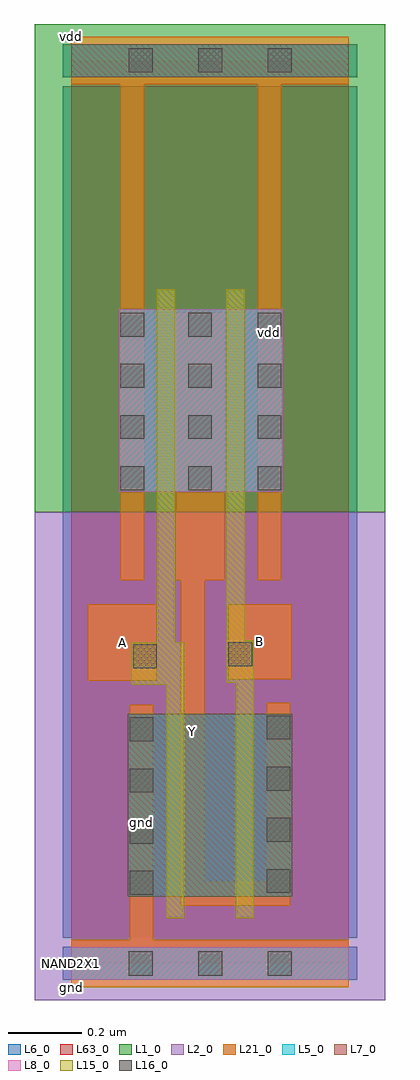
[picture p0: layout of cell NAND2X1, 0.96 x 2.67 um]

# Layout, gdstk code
import gdstk
lib = gdstk.Library(unit=1e-6, precision=1e-09)
def R(c, l, rs):  # rectangles x0, y0, x1, y1
    for r in rs: c.add(gdstk.rectangle(r[:2], r[2:], *l))
def A(c, l, x, y, w, h, nx, ny, dx, dy):  # array of equal rectangles
    R(c, l, [(x+i*dx, y+j*dy, x+i*dx+w, y+j*dy+h) for i in range(nx) for j in range(ny)])
def P(c, l, *ps):  # polygons
    for p in ps: c.add(gdstk.Polygon(p, *l))
L1_0 = (1, 0)
L2_0 = (2, 0)
L5_0 = (5, 0)
L6_0 = (6, 0)
L7_0 = (7, 0)
L8_0 = (8, 0)
L15_0 = (15, 0)
L16_0 = (16, 0)
L21_0 = (21, 0)
L63_0 = (63, 0)

nand2x1 = lib.new_cell('NAND2X1')
R(nand2x1, L1_0, [(-0.1,1.235,0.86,2.57)])
R(nand2x1, L2_0, [(-0.1,-0.1,0.86,1.235)])
R(nand2x1, L5_0, [(0,-0.045,0.76,0.045), (0.155,0.183,0.26,0.683), (0.26,0.183,0.31,0.683), (0.31,0.183,0.45,0.683), (0.45,0.183,0.5,0.683), (0.5,0.183,0.605,0.683), (0.13,1.29,0.235,1.79), (0.235,1.29,0.285,1.79), (0.285,1.29,0.425,1.79), (0.425,1.29,0.475,1.79), (0.475,1.29,0.58,1.79), (0,2.425,0.76,2.515)])
R(nand2x1, L6_0, [(-0.023,-0.045,0.783,0.045), (-0.023,-0.045,0.783,0.045), (-0.023,0.07,0.783,1.235), (-0.023,1.235,0.783,2.4), (-0.023,2.425,0.783,2.515), (-0.023,2.425,0.783,2.515)])
R(nand2x1, L7_0, [(0.155,0.183,0.26,0.683), (0.26,0.183,0.31,0.683), (0.31,0.183,0.45,0.683), (0.45,0.183,0.5,0.683), (0.5,0.183,0.605,0.683), (0,2.425,0.76,2.515)])
R(nand2x1, L8_0, [(0,-0.045,0.76,0.045), (0.13,1.29,0.235,1.79), (0.235,1.29,0.285,1.79), (0.285,1.29,0.425,1.79), (0.425,1.29,0.475,1.79), (0.475,1.29,0.58,1.79)])
R(nand2x1, L15_0, [(0.26,0.123,0.31,0.183), (0.45,0.123,0.5,0.183), (0.26,0.183,0.31,0.683), (0.45,0.183,0.5,0.683), (0.235,1.29,0.285,1.79), (0.425,1.29,0.475,1.79), (0.235,1.79,0.285,1.845), (0.425,1.79,0.475,1.845)])
P(nand2x1, L15_0, [(0.26,0.763),(0.165,0.763),(0.165,0.878),(0.235,0.878),(0.235,1.29),(0.285,1.29),(0.285,0.878),(0.31,0.878),(0.31,0.683),(0.26,0.683)],
  [(0.45,0.768),(0.425,0.768),(0.425,1.29),(0.475,1.29),(0.475,0.883),(0.5,0.883),(0.5,0.683),(0.45,0.683)])
A(nand2x1, L16_0, 0.158, -0.033, 0.065, 0.066, 3, 1, 0.19, 0)
A(nand2x1, L16_0, 0.16, 0.188, 0.065, 0.065, 1, 4, 0, 0.14)
A(nand2x1, L16_0, 0.535, 0.193, 0.065, 0.065, 1, 4, 0, 0.14)
A(nand2x1, L16_0, 0.135, 1.295, 0.065, 0.065, 1, 4, 0, 0.14)
A(nand2x1, L16_0, 0.32, 1.295, 0.065, 0.065, 1, 4, 0, 0.14)
A(nand2x1, L16_0, 0.51, 1.295, 0.065, 0.065, 1, 4, 0, 0.14)
A(nand2x1, L16_0, 0.158, 2.438, 0.065, 0.065, 3, 1, 0.19, 0)
R(nand2x1, L16_0, [(0.17,0.808,0.235,0.873), (0.43,0.813,0.495,0.878)])
R(nand2x1, L21_0, [(0.045,0.773,0.235,0.983), (0.43,0.778,0.603,0.983)])
P(nand2x1, L21_0, [(0,2.405),(0,2.535),(0.76,2.535),(0.76,2.405),(0.575,2.405),(0.575,1.048),(0.51,1.048),(0.51,2.405),(0.2,2.405),(0.2,1.048),(0.135,1.048),(0.135,2.405)],
  [(0.16,0.065),(0.16,0.708),(0.225,0.708),(0.225,0.065),(0.76,0.065),(0.76,-0.065),(0,-0.065),(0,0.065)],
  [(0.3,1.048),(0.285,1.048),(0.285,1.78),(0.42,1.78),(0.42,1.048),(0.365,1.048),(0.365,0.223),(0.535,0.223),(0.535,0.713),(0.6,0.713),(0.6,0.158),(0.3,0.158)])
R(nand2x1, L63_0, [(0,0,0.76,2.47)])
nand2x1.add(gdstk.Label('vdd', (0.543,1.726), layer=21, texttype=1))
nand2x1.add(gdstk.Label('gnd', (0.193,0.386), layer=21, texttype=1))
nand2x1.add(gdstk.Label('A', (0.14,0.878), layer=21, texttype=1))
nand2x1.add(gdstk.Label('Y', (0.333,0.635), layer=21, texttype=1))
nand2x1.add(gdstk.Label('B', (0.516,0.88), layer=21, texttype=1))
nand2x1.add(gdstk.Label('vdd', (0,2.535), layer=21, texttype=2))
nand2x1.add(gdstk.Label('gnd', (0,-0.065), layer=21, texttype=2))
nand2x1.add(gdstk.Label('NAND2X1', (0,0), layer=63, texttype=1))

lib.write_gds('NAND2X1.gds')
